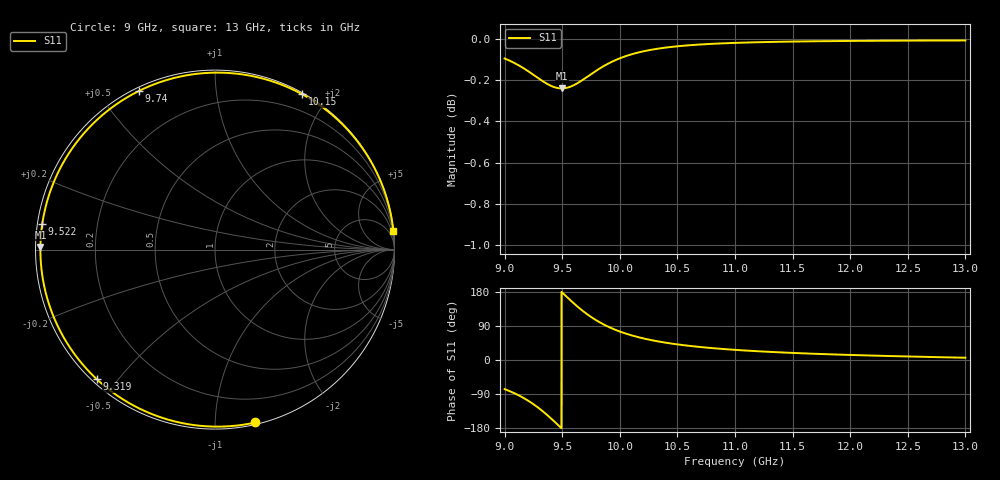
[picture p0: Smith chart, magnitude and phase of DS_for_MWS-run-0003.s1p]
! TOUCHSTONE file generated by CST DESIGN STUDIO
! Date and time: Tue Feb  4 12:32:07 2025
! Project name: C:\Work\MatlabApps\UnitCellOptimizationMatlab\CST\unitcell.cst
! Tree item: Tasks\Sweep1\SPara1\S-Parameters
! Header version: 2024
! Port assignment regex: !\s*Touchstone port\s*([0-9]+)\s*=\s*(CST MWS port|CST DES external port|CST DES block port)\s*(.+)\s* \(\"(.*)\"\)(\s*mode\s*([0-9]+))?.*
! Touchstone port assignment:
! Touchstone port 1 = CST DES external port 1 ("")
# GHz S MA R 50
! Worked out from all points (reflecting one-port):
!   4001 points, 9 GHz to 13 GHz, reference 50 ohm
!   lowest |S11| = -0.2 dB at 9.496 GHz (marker M1), VSWR 72.66, Z = 0.688 + j0.361 ohm
!   phase of S11 starts at -77 deg and turns -277 deg over the sweep
!   S11 on the Smith chart (normalised r, x): 9 GHz: 0.01, -1.26; 9.319 GHz: 0.01, -0.44; 9.522 GHz: 0.01, +0.07; 9.74 GHz: 0.01, +0.63; 10.15 GHz: 0.01, +1.71; 13 GHz: 0, +19
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9  0.9893 -76.8
9.082  0.9869 -87.3
9.183  0.9832 -103.5
9.254  0.9801 -117.4
9.319  0.9773 -132.3
9.366  0.9754 -144.2
9.416  0.9739 -157.9
9.457  0.9731 -169.5
9.496  0.9728 179.2
9.5  0.9729 178.0
9.522  0.973 171.6
9.576  0.9739 156.3
9.636  0.9758 140.1
9.687  0.9779 127.6
9.74  0.9802 115.8
9.793  0.9824 105.3
9.852  0.9848 95.1
9.925  0.9873 84.3
10  0.9894 75.2
10.155  0.9925 60.6
10.312  0.9945 50.2
10.5  0.9961 41.2
10.722  0.9971 33.5
11  0.9979 26.7
11.5  0.9987 18.7
12  0.999 13.3
12.5  0.9992 9.3
13  0.9993 6.0
